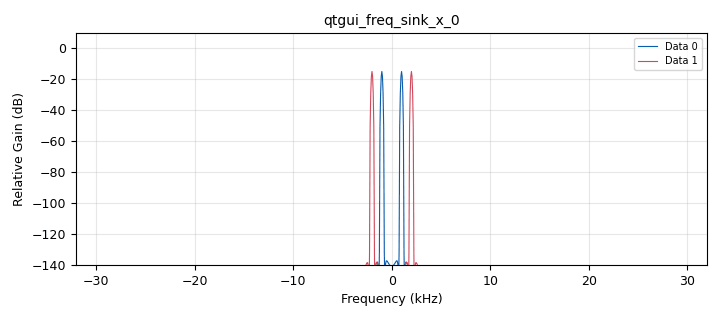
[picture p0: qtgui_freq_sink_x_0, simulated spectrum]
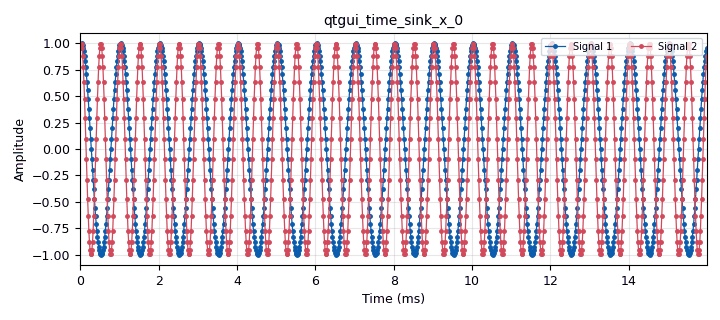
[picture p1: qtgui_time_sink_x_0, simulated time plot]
options:
  parameters:
    author: vitor
    generate_options: qt_gui
    id: decimacao
    output_language: python
    title: Not titled yet
  states: {}

blocks:
- name: samp_rate
  id: variable
  parameters:
    value: '64000'
  states: {}
- name: analog_sig_source_x_0
  id: analog_sig_source_x
  parameters:
    amp: '1'
    freq: '1000'
    offset: '0'
    phase: '0'
    samp_rate: samp_rate
    type: float
    waveform: analog.GR_COS_WAVE
  states: {}
- name: blocks_keep_one_in_n_0
  id: blocks_keep_one_in_n
  parameters:
    n: '2'
    type: float
  states: {}
- name: blocks_throttle2_0
  id: blocks_throttle2
  parameters:
    samples_per_second: samp_rate/10
    type: float
  states: {}
- name: qtgui_freq_sink_x_0
  id: qtgui_freq_sink_x
  parameters:
    bw: samp_rate
    fc: '0'
    fftsize: '1024'
    nconnections: '2'
    type: float
  states: {}
- name: qtgui_time_sink_x_0
  id: qtgui_time_sink_x
  parameters:
    autoscale: 'True'
    grid: 'True'
    marker1: '0'
    marker2: '3'
    nconnections: '2'
    size: '1024'
    srate: samp_rate
    type: float
  states: {}

connections:
- [analog_sig_source_x_0, '0', blocks_throttle2_0, '0']
- [blocks_keep_one_in_n_0, '0', qtgui_freq_sink_x_0, '1']
- [blocks_keep_one_in_n_0, '0', qtgui_time_sink_x_0, '1']
- [blocks_throttle2_0, '0', blocks_keep_one_in_n_0, '0']
- [blocks_throttle2_0, '0', qtgui_freq_sink_x_0, '0']
- [blocks_throttle2_0, '0', qtgui_time_sink_x_0, '0']

metadata:
  file_format: 1
  grc_version: 3.10.12.0
